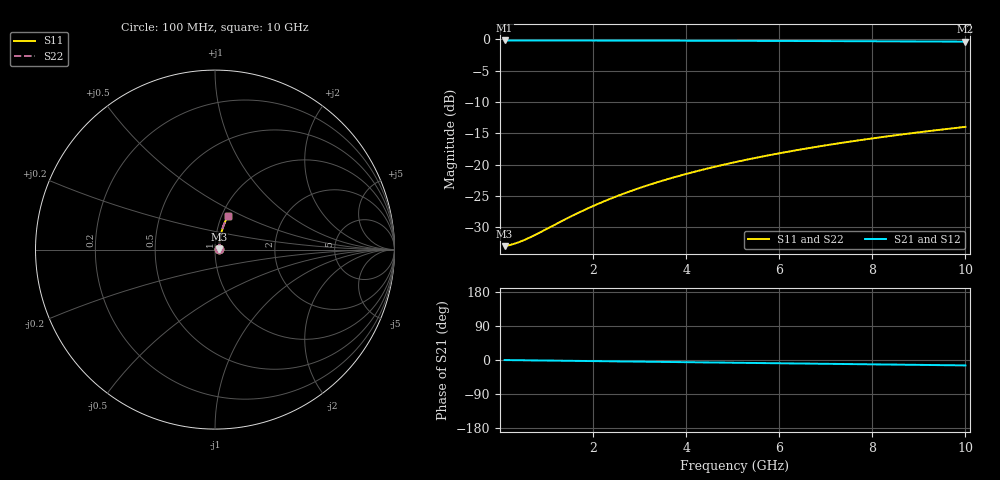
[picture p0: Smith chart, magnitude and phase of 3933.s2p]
# Hz S RI R 50.00
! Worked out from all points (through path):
!   100 points, 100 MHz to 10 GHz, reference 50 ohm
!   highest |S21| = -0.20 dB at 100 MHz (marker M1); lowest = -0.4 dB at 10 GHz (marker M2)
!   group delay of S21, straight-line fit = 3.97 ps
!   lowest |S11| = -33.0 dB at 100 MHz (marker M3), VSWR 1.05, Z = 52.3 + j0.207 ohm
!   |S11| at or under -10 dB: start of sweep to end of sweep
!   |S22| runs from -33.0 to -14.0 dB; largest |S21 - S12| = 0
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1e8  0.0223 0.00198  0.9777 -0.00246  0.9777 -0.00246  0.0223 0.00198
2e8  0.0225 0.00395  0.9775 -0.00493  0.9775 -0.00493  0.0225 0.00395
3e8  0.0226 0.00593  0.9774 -0.00739  0.9774 -0.00739  0.0226 0.00593
4e8  0.0227 0.00791  0.9772 -0.00985  0.9772 -0.00985  0.0227 0.00791
6e8  0.023 0.0119  0.977 -0.0148  0.977 -0.0148  0.023 0.0119
8e8  0.0232 0.0158  0.9768 -0.0197  0.9768 -0.0197  0.0232 0.0158
1.5e9  0.0243 0.0296  0.9757 -0.0369  0.9757 -0.0369  0.0243 0.0296
1.8e9  0.0249 0.0355  0.9751 -0.0442  0.9751 -0.0442  0.0249 0.0355
2.2e9  0.0258 0.0433  0.9742 -0.054  0.9742 -0.054  0.0258 0.0433
2.6e9  0.0268 0.0511  0.9731 -0.0638  0.9731 -0.0638  0.0268 0.0511
3e9  0.028 0.0589  0.9719 -0.0735  0.9719 -0.0735  0.028 0.0589
3.4e9  0.0293 0.0666  0.9705 -0.0832  0.9705 -0.0832  0.0293 0.0666
3.8e9  0.0308 0.0744  0.969 -0.0928  0.969 -0.0928  0.0308 0.0744
4.2e9  0.0325 0.082  0.9673 -0.1025  0.9673 -0.1025  0.0325 0.082
4.6e9  0.0342 0.0897  0.9655 -0.1121  0.9655 -0.1121  0.0342 0.0897
5.1e9  0.0367 0.0991  0.963 -0.124  0.963 -0.124  0.0367 0.0991
5.9e9  0.041 0.1141  0.9585 -0.1429  0.9585 -0.1429  0.041 0.1141
6.7e9  0.046 0.1289  0.9534 -0.1615  0.9534 -0.1615  0.046 0.1289
7.5e9  0.0515 0.1434  0.9478 -0.1799  0.9478 -0.1799  0.0515 0.1434
8.4e9  0.0583 0.1594  0.9408 -0.2003  0.9408 -0.2003  0.0583 0.1594
9.2e9  0.065 0.1732  0.934 -0.2181  0.934 -0.2181  0.065 0.1732
1e10  0.0721 0.1867  0.9267 -0.2356  0.9267 -0.2356  0.0721 0.1867
